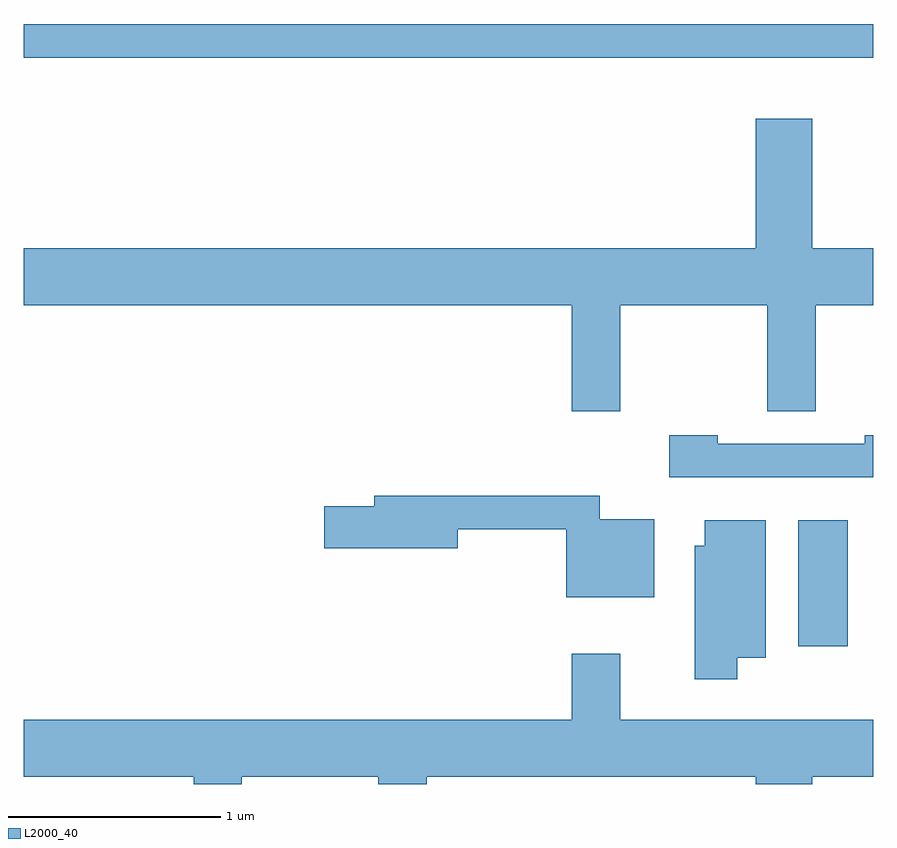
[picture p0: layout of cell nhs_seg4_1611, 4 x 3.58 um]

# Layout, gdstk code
import gdstk
lib = gdstk.Library(unit=1e-6, precision=1e-09)
def R(c, l, rs):  # rectangles x0, y0, x1, y1
    for r in rs: c.add(gdstk.rectangle(r[:2], r[2:], *l))
def P(c, l, *ps):  # polygons
    for p in ps: c.add(gdstk.Polygon(p, *l))
L2000_40 = (2000, 40)

nhs_seg4_1611 = lib.new_cell('nhs_seg4_1611')
R(nhs_seg4_1611, L2000_40, [(235.256,1348.631,235.489,1349.224), (231.611,1351.401,235.611,1351.559)])
P(nhs_seg4_1611, L2000_40, [(234.419,1350.236),(235.111,1350.236),(235.111,1349.736),(235.339,1349.736),(235.339,1350.236),(235.611,1350.236),(235.611,1350.504),(235.324,1350.504),(235.324,1351.114),(235.056,1351.114),(235.056,1350.504),(231.611,1350.504),(231.611,1350.236),(234.191,1350.236),(234.191,1349.736),(234.419,1349.736)],
  [(235.611,1349.624),(235.571,1349.624),(235.571,1349.584),(234.879,1349.584),(234.879,1349.624),(234.651,1349.624),(234.651,1349.426),(235.611,1349.426)],
  [(234.579,1349.229),(234.324,1349.229),(234.324,1349.339),(233.261,1349.339),(233.261,1349.289),(233.026,1349.289),(233.026,1349.091),(233.654,1349.091),(233.654,1349.181),(234.166,1349.181),(234.166,1348.861),(234.579,1348.861)],
  [(234.969,1348.576),(235.104,1348.576),(235.104,1349.224),(234.816,1349.224),(234.816,1349.104),(234.771,1349.104),(234.771,1348.476),(234.969,1348.476)],
  [(232.639,1348.016),(233.281,1348.016),(233.281,1347.982),(233.509,1347.982),(233.509,1348.016),(235.056,1348.016),(235.056,1347.982),(235.324,1347.982),(235.324,1348.016),(235.611,1348.016),(235.611,1348.284),(234.419,1348.284),(234.419,1348.594),(234.191,1348.594),(234.191,1348.284),(231.611,1348.284),(231.611,1348.016),(232.411,1348.016),(232.411,1347.982),(232.639,1347.982)])

lib.write_gds('nhs_seg4_1611.gds')
